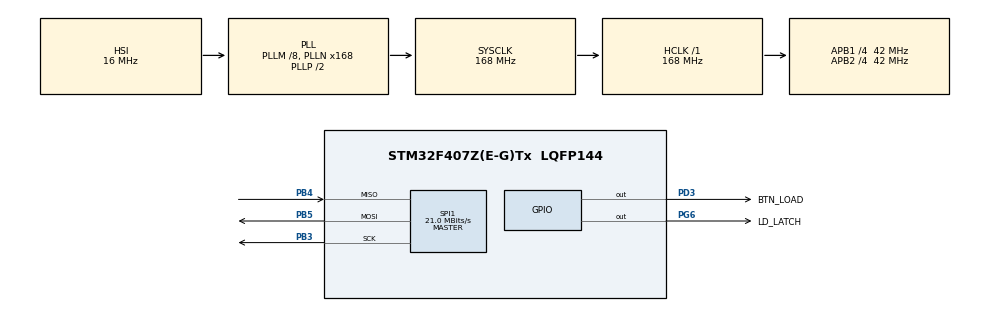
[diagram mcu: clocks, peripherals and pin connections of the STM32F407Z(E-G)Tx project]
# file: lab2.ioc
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Mcu.Family=STM32F4
Mcu.Name=STM32F407Z(E-G)Tx
Mcu.Package=LQFP144
NVIC.PriorityGroup=NVIC_PRIORITYGROUP_4
NVIC.TIM2_IRQn=true\:0\:0\:false\:false\:true\:true\:true\:true
PA13.Mode=Serial_Wire
PA13.Signal=SYS_JTMS-SWDIO
PA14.Mode=Serial_Wire
PA14.Signal=SYS_JTCK-SWCLK
PB3.Mode=Full_Duplex_Master
PB3.Signal=SPI1_SCK
PB4.Mode=Full_Duplex_Master
PB4.Signal=SPI1_MISO
PB5.Mode=Full_Duplex_Master
PB5.Signal=SPI1_MOSI
PD3.GPIO_Label=BTN_LOAD
PD3.Signal=GPIO_Output
PG6.GPIO_Label=LD_LATCH
PG6.Signal=GPIO_Output
PH0-OSC_IN.Mode=HSE-External-Oscillator
PH0-OSC_IN.Signal=RCC_OSC_IN
PH1-OSC_OUT.Mode=HSE-External-Oscillator
PH1-OSC_OUT.Signal=RCC_OSC_OUT
ProjectManager.HeapSize=0x200
ProjectManager.StackSize=0x400
ProjectManager.TargetToolchain=STM32CubeIDE
RCC.48MHZClocksFreq_Value=84000000
RCC.AHBFreq_Value=168000000
RCC.APB1CLKDivider=RCC_HCLK_DIV4
RCC.APB1Freq_Value=42000000
RCC.APB1TimFreq_Value=84000000
RCC.APB2CLKDivider=RCC_HCLK_DIV4
RCC.APB2Freq_Value=42000000
RCC.APB2TimFreq_Value=84000000
RCC.CortexFreq_Value=168000000
RCC.HCLKFreq_Value=168000000
RCC.HSE_VALUE=8000000
RCC.HSI_VALUE=16000000
RCC.LSE_VALUE=32768
RCC.PLLM=8
RCC.PLLN=168
RCC.SYSCLKFreq_VALUE=168000000
RCC.SYSCLKSource=RCC_SYSCLKSOURCE_PLLCLK
RCC.VCOOutputFreq_Value=336000000
SPI1.CalculateBaudRate=21.0 MBits/s
SPI1.Direction=SPI_DIRECTION_2LINES
SPI1.Mode=SPI_MODE_MASTER
SPI1.VirtualType=VM_MASTER
TIM2.Period=99
TIM2.Prescaler=839
VP_TIM2_VS_ClockSourceINT.Mode=Internal
board=custom

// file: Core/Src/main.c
/* USER CODE BEGIN Header */
/**
  ******************************************************************************
  * @file           : main.c
  * @brief          : Main program body
  ******************************************************************************
  * @attention
  *
  * Copyright (c) 2024 STMicroelectronics.
  * All rights reserved.
  *
  * This software is licensed under terms that can be found in the LICENSE file
  * in the root directory of this software component.
  * If no LICENSE file comes with this software, it is provided AS-IS.
  *
  ******************************************************************************
  */
/* USER CODE END Header */
#include "main.h"
#include "spi.h"
#include "tim.h"
#include "gpio.h"

/* USER CODE BEGIN Includes */
#include "software_timer.h"
#include "led_7seg.h"
/* USER CODE END Includes */

void SystemClock_Config(void);
/* USER CODE BEGIN PFP */
void system_init();
void led7seg_clock();
void colon_scan();
void display_clock();
/* USER CODE END PFP */

int main(void)
{

  /* MCU Configuration--------------------------------------------------------*/

  /* Reset of all peripherals, Initializes the Flash interface and the Systick. */
  HAL_Init();

  /* Configure the system clock */
  SystemClock_Config();

  /* Initialize all configured peripherals */
  MX_GPIO_Init();
  MX_SPI1_Init();
  MX_TIM2_Init();
  /* USER CODE BEGIN 2 */
  system_init();
  led7_SetColon(1);
  display_clock();
  /* USER CODE END 2 */

  /* Infinite loop */
  /* USER CODE BEGIN WHILE */
  while (1)
  {
	  while(!flag_timer2);
	  flag_timer2 = 0;
	  // main task , every 50 ms
	  led7seg_clock();
	  colon_scan();
    /* USER CODE END WHILE */

  }
}

void SystemClock_Config(void)
{
  RCC_OscInitTypeDef RCC_OscInitStruct = {0};
  RCC_ClkInitTypeDef RCC_ClkInitStruct = {0};

  /** Configure the main internal regulator output voltage
  */
  __HAL_RCC_PWR_CLK_ENABLE();
  __HAL_PWR_VOLTAGESCALING_CONFIG(PWR_REGULATOR_VOLTAGE_SCALE1);

  /** Initializes the RCC Oscillators according to the specified parameters
  * in the RCC_OscInitTypeDef structure.
  */
  RCC_OscInitStruct.OscillatorType = RCC_OSCILLATORTYPE_HSI;
  RCC_OscInitStruct.HSIState = RCC_HSI_ON;
  RCC_OscInitStruct.HSICalibrationValue = RCC_HSICALIBRATION_DEFAULT;
  RCC_OscInitStruct.PLL.PLLState = RCC_PLL_ON;
  RCC_OscInitStruct.PLL.PLLSource = RCC_PLLSOURCE_HSI;
  RCC_OscInitStruct.PLL.PLLM = 8;
  RCC_OscInitStruct.PLL.PLLN = 168;
  RCC_OscInitStruct.PLL.PLLP = RCC_PLLP_DIV2;
  RCC_OscInitStruct.PLL.PLLQ = 4;
  if (HAL_RCC_OscConfig(&RCC_OscInitStruct) != HAL_OK)
  {
    Error_Handler();
  }

  /** Initializes the CPU, AHB and APB buses clocks
  */
  RCC_ClkInitStruct.ClockType = RCC_CLOCKTYPE_HCLK|RCC_CLOCKTYPE_SYSCLK
                              |RCC_CLOCKTYPE_PCLK1|RCC_CLOCKTYPE_PCLK2;
  RCC_ClkInitStruct.SYSCLKSource = RCC_SYSCLKSOURCE_PLLCLK;
  RCC_ClkInitStruct.AHBCLKDivider = RCC_SYSCLK_DIV1;
  RCC_ClkInitStruct.APB1CLKDivider = RCC_HCLK_DIV4;
  RCC_ClkInitStruct.APB2CLKDivider = RCC_HCLK_DIV4;

  if (HAL_RCC_ClockConfig(&RCC_ClkInitStruct, FLASH_LATENCY_5) != HAL_OK)
  {
    Error_Handler();
  }
}

/* USER CODE BEGIN 4 */
void system_init (){
	HAL_GPIO_WritePin(OUTPUT_Y0_GPIO_Port, OUTPUT_Y0_Pin, RESET);
	HAL_GPIO_WritePin(OUTPUT_Y1_GPIO_Port, OUTPUT_Y1_Pin, RESET);
	HAL_GPIO_WritePin(DEBUG_LED_GPIO_Port, DEBUG_LED_Pin, RESET);
	led7_init();
	timer_init();
	setTimer2(50);
}

uint8_t hour = 0;
uint8_t minute = 0;
int clk_count = 0;
void led7seg_clock(){
	clk_count++;

	if(clk_count >= 1200){
		if(minute >= 60){
			minute = 0;
			hour++;
		}else minute++;

		display_clock();
		clk_count = 0;
	}
}

uint8_t colon_count = 0;
uint8_t colon_flag = 0;
void colon_scan(){
	colon_count++;
	if (colon_count >= 10){
		if (colon_flag){
			colon_flag = 0;
		}else{
			colon_flag = 1;
		}

		led7_SetColon(colon_flag);
		colon_count = 0;
	}
}

void display_clock(){
	//hour display
	led7_SetDigit(hour/10, 0, 0);
	led7_SetDigit(hour%10, 1, 0);
	//minute display
	led7_SetDigit(minute/10, 2, 0);
	led7_SetDigit(minute%10, 3, 0);
}
/* USER CODE END 4 */

void Error_Handler(void)
{
  __disable_irq();
  while (1)
  {
  }
}
